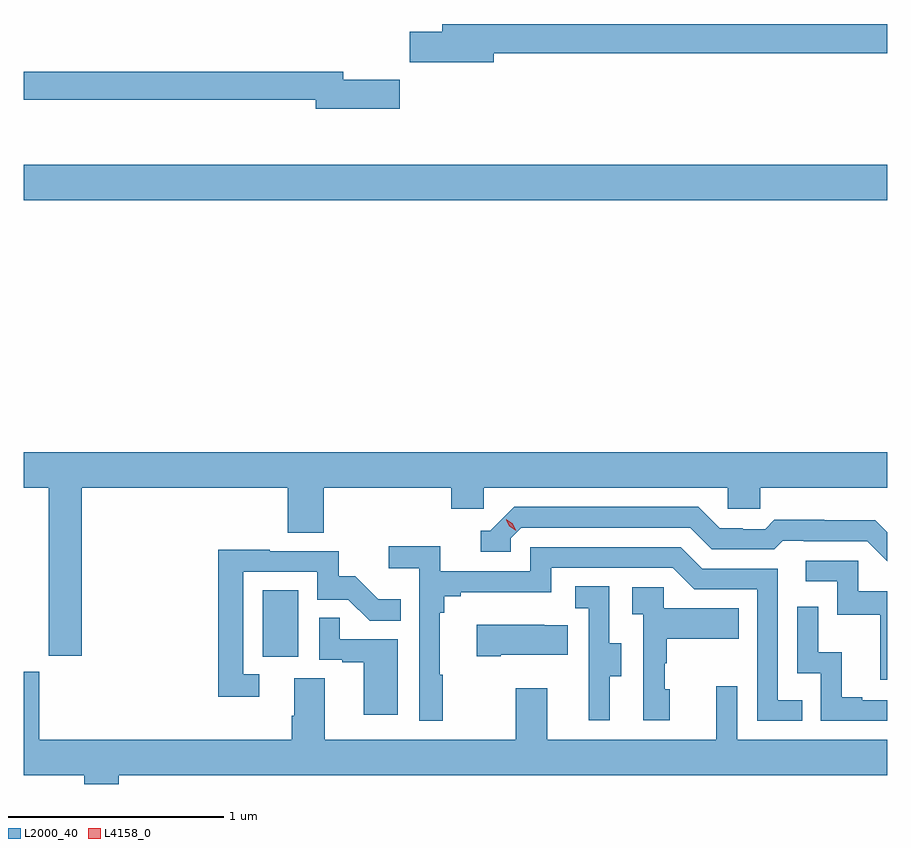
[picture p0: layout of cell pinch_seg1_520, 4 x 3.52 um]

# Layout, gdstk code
import gdstk
lib = gdstk.Library(unit=1e-6, precision=1e-09)
def R(c, l, rs):  # rectangles x0, y0, x1, y1
    for r in rs: c.add(gdstk.rectangle(r[:2], r[2:], *l))
def P(c, l, *ps):  # polygons
    for p in ps: c.add(gdstk.Polygon(p, *l))
L2000_40 = (2000, 40)
L4158_0 = (4158, 0)

pinch_seg1_520 = lib.new_cell('pinch_seg1_520')
R(pinch_seg1_520, L2000_40, [(1066.196,529.638,1066.36,529.945), (1065.089,531.752,1069.089,531.916)])
P(pinch_seg1_520, L2000_40, [(1067.266,532.432),(1069.089,532.432),(1069.089,532.568),(1067.027,532.568),(1067.027,532.532),(1066.878,532.532),(1066.878,532.39),(1067.266,532.39)],
  [(1066.831,532.31),(1066.57,532.31),(1066.57,532.346),(1065.089,532.346),(1065.089,532.218),(1066.442,532.218),(1066.442,532.175),(1066.831,532.175)],
  [(1065.359,530.42),(1066.313,530.42),(1066.313,530.212),(1066.478,530.212),(1066.478,530.42),(1067.069,530.42),(1067.069,530.322),(1067.22,530.322),(1067.22,530.42),(1068.351,530.42),(1068.351,530.322),(1068.501,530.322),(1068.501,530.42),(1069.089,530.42),(1069.089,530.584),(1065.089,530.584),(1065.089,530.42),(1065.206,530.42),(1065.206,529.641),(1065.359,529.641)],
  [(1069.089,530.214),(1069.034,530.269),(1068.798,530.269),(1068.798,530.272),(1068.565,530.272),(1068.523,530.229),(1068.42,530.229),(1068.42,530.232),(1068.313,530.232),(1068.214,530.331),(1067.361,530.331),(1067.25,530.22),(1067.207,530.22),(1067.207,530.124),(1067.346,530.124),(1067.346,530.187),(1067.394,530.235),(1068.177,530.235),(1068.276,530.136),(1068.565,530.136),(1068.604,530.175),(1068.703,530.175),(1068.703,530.172),(1068.996,530.172),(1069.089,530.079)],
  [(1067.029,529.553),(1067.017,529.553),(1067.017,529.841),(1067.036,529.841),(1067.036,529.918),(1067.113,529.918),(1067.113,529.937),(1067.532,529.937),(1067.532,530.049),(1068.096,530.049),(1068.195,529.95),(1068.486,529.95),(1068.486,529.341),(1068.695,529.341),(1068.695,529.437),(1068.582,529.437),(1068.582,530.046),(1068.232,530.046),(1068.133,530.145),(1067.436,530.145),(1067.436,530.034),(1067.018,530.034),(1067.018,530.15),(1066.779,530.15),(1066.779,530.048),(1066.92,530.048),(1066.92,529.341),(1067.029,529.341)],
  [(1066.18,529.557),(1066.107,529.557),(1066.107,530.031),(1066.449,530.031),(1066.449,529.902),(1066.593,529.902),(1066.691,529.804),(1066.835,529.804),(1066.835,529.903),(1066.731,529.903),(1066.624,530.01),(1066.548,530.01),(1066.548,530.127),(1066.229,530.127),(1066.229,530.132),(1065.991,530.132),(1065.991,529.452),(1066.18,529.452)],
  [(1069.089,529.941),(1068.954,529.941),(1068.954,530.082),(1068.711,530.082),(1068.711,529.986),(1068.858,529.986),(1068.858,529.833),(1069.057,529.833),(1069.057,529.53),(1069.089,529.53)],
  [(1067.803,529.546),(1067.857,529.546),(1067.857,529.701),(1067.802,529.701),(1067.802,529.964),(1067.643,529.964),(1067.643,529.861),(1067.706,529.861),(1067.706,529.557),(1067.705,529.557),(1067.705,529.344),(1067.803,529.344)],
  [(1068.082,529.488),(1068.057,529.488),(1068.057,529.607),(1068.067,529.607),(1068.067,529.721),(1068.401,529.721),(1068.401,529.861),(1068.054,529.861),(1068.054,529.959),(1067.907,529.959),(1067.907,529.835),(1067.958,529.835),(1067.958,529.344),(1068.082,529.344)],
  [(1069.089,529.437),(1068.973,529.437),(1068.973,529.45),(1068.878,529.45),(1068.878,529.658),(1068.768,529.658),(1068.768,529.87),(1068.672,529.87),(1068.672,529.56),(1068.78,529.56),(1068.78,529.341),(1069.089,529.341)],
  [(1066.822,529.719),(1066.553,529.719),(1066.553,529.817),(1066.458,529.817),(1066.458,529.623),(1066.565,529.623),(1066.565,529.611),(1066.664,529.611),(1066.664,529.368),(1066.822,529.368)],
  [(1067.299,529.646),(1067.609,529.646),(1067.609,529.783),(1067.501,529.783),(1067.501,529.786),(1067.187,529.786),(1067.187,529.639),(1067.299,529.639)],
  [(1065.53,529.088),(1069.089,529.088),(1069.089,529.252),(1068.393,529.252),(1068.393,529.501),(1068.296,529.501),(1068.296,529.252),(1067.515,529.252),(1067.515,529.492),(1067.368,529.492),(1067.368,529.252),(1066.483,529.252),(1066.483,529.538),(1066.343,529.538),(1066.343,529.364),(1066.331,529.364),(1066.331,529.252),(1065.16,529.252),(1065.16,529.569),(1065.089,529.569),(1065.089,529.088),(1065.37,529.088),(1065.37,529.048),(1065.53,529.048)])
P(pinch_seg1_520, L4158_0, [(1067.37,530.221),(1067.339,530.241),(1067.323,530.273),(1067.323,530.274),(1067.323,530.274),(1067.354,530.254),(1067.37,530.221),(1067.37,530.221)])

lib.write_gds('pinch_seg1_520.gds')
